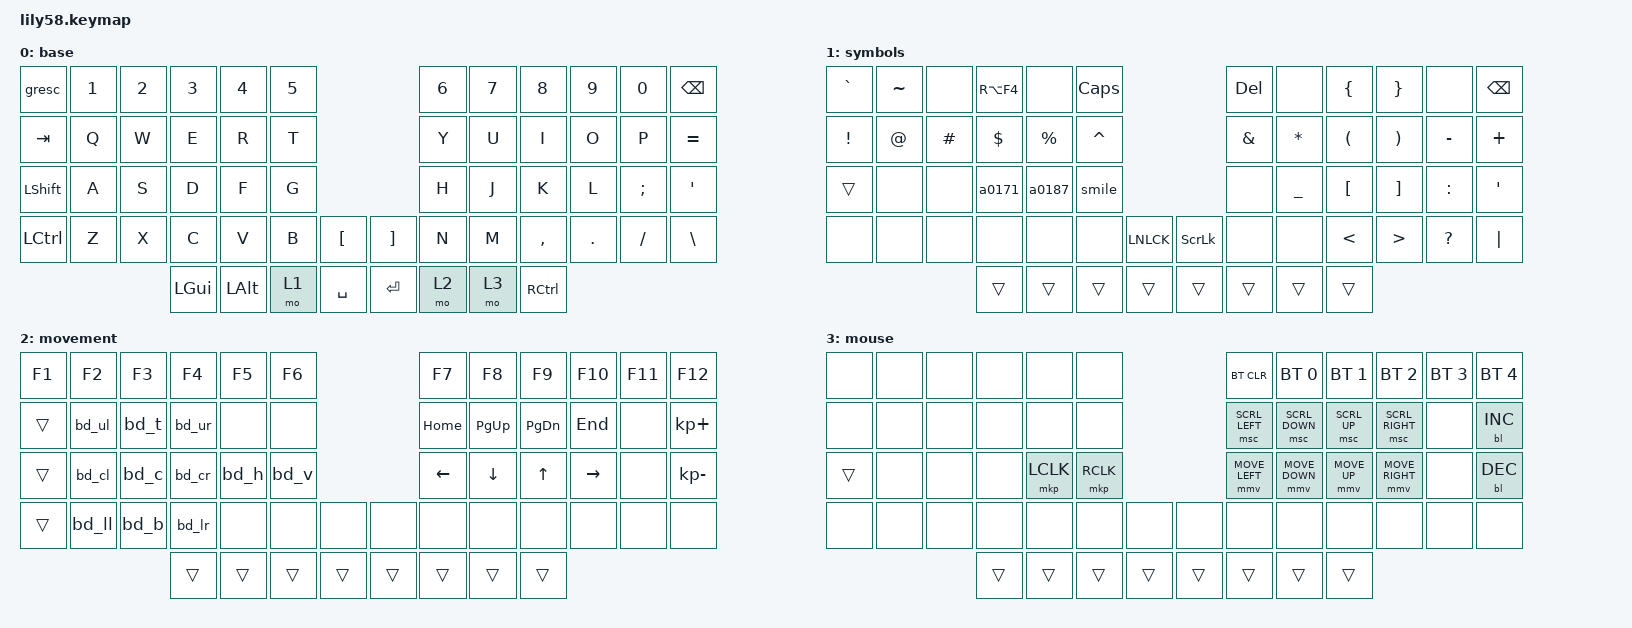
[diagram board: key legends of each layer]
/*
 * Copyright (c) 2020 The ZMK Contributors
 *
 * SPDX-License-Identifier: MIT
 */

#define ZMK_POINTING_DEFAULT_MOVE_VAL 1500
#define ZMK_POINTING_DEFAULT_SCRL_VAL 20

#include <behaviors.dtsi>
#include <dt-bindings/zmk/bt.h>
#include <dt-bindings/zmk/keys.h>
#include <dt-bindings/zmk/pointing.h>
#include <dt-bindings/zmk/backlight.h>

&gresc {
    mods = <(MOD_LGUI|MOD_RGUI)>;
    bindings = <&kp ESC>, <&kp GRAVE>;
    keep-mods = <(MOD_LGUI|MOD_RGUI)>;
};

/ {
    macros {
        smile: alt_code_for_a_simple_smile {
            compatible = "zmk,behavior-macro";
            tap-ms = <10>;
            wait-ms = <10>;
            #binding-cells = <0>;
            bindings = <&macro_press &kp LALT>
                     , <&macro_tap &kp KP_N2>
                     , <&macro_release &kp LALT>
                     ;

        };

        a0171: alt_code_open_angle_quote {
            compatible = "zmk,behavior-macro";
            tap-ms = <10>;
            wait-ms = <10>;
            #binding-cells = <0>;
            bindings = <&macro_press &kp LALT>
                     , <&macro_tap &kp KP_N0 &kp KP_N1 &kp KP_N7 &kp KP_N1>
                     , <&macro_release &kp LALT>
                     ;

        };
        a0187: alt_code_close_angle_quote {
            compatible = "zmk,behavior-macro";
            tap-ms = <10>;
            wait-ms = <10>;
            #binding-cells = <0>;
            bindings = <&macro_press &kp LALT>
                     , <&macro_tap &kp KP_N0 &kp KP_N1 &kp KP_N8 &kp KP_N7>
                     , <&macro_release>, <&kp LALT>
                     ;
        };

        bd_h: box_drawing_horizontal {
            compatible = "zmk,behavior-macro";
            tap-ms = <10>;
            wait-ms = <10>;
            #binding-cells = <0>;
            bindings = <&macro_press &kp LALT>
                     , <&macro_tap &kp KP_N1 &kp KP_N9 &kp KP_N6>
                     , <&macro_release &kp LALT>
                     ;
        };

        bd_v: box_drawing_vertical {
            compatible = "zmk,behavior-macro";
            tap-ms = <10>;
            wait-ms = <10>;
            #binding-cells = <0>;
            bindings = <&macro_press &kp LALT>
                     , <&macro_tap &kp KP_N1 &kp KP_N7 &kp KP_N9>
                     , <&macro_release &kp LALT>
                     ;
        };

        bd_ul: box_drawing_upper_left_corner {
            compatible = "zmk,behavior-macro";
            tap-ms = <10>;
            wait-ms = <10>;
            #binding-cells = <0>;
            bindings = <&macro_press &kp LALT>
                     , <&macro_tap &kp KP_N2 &kp KP_N1 &kp KP_N8>
                     , <&macro_release &kp LALT>
                     ;
        };

        bd_ur: box_drawing_upper_right_corner {
            compatible = "zmk,behavior-macro";
            tap-ms = <10>;
            wait-ms = <10>;
            #binding-cells = <0>;
            bindings = <&macro_press &kp LALT>
                     , <&macro_tap &kp KP_N1 &kp KP_N9 &kp KP_N1>
                     , <&macro_release &kp LALT>
                     ;
        };

        bd_ll: box_drawing_lower_left_corner {
            compatible = "zmk,behavior-macro";
            tap-ms = <10>;
            wait-ms = <10>;
            #binding-cells = <0>;
            bindings = <&macro_press &kp LALT>
                     , <&macro_tap &kp KP_N1 &kp KP_N9 &kp KP_N2>
                     , <&macro_release &kp LALT>
                     ;
        };

        bd_lr: box_drawing_lower_right_corner {
            compatible = "zmk,behavior-macro";
            tap-ms = <10>;
            wait-ms = <10>;
            #binding-cells = <0>;
            bindings = <&macro_press &kp LALT>
                     , <&macro_tap &kp KP_N2 &kp KP_N1 &kp KP_N7>
                     , <&macro_release &kp LALT>
                     ;
        };

        bd_cl: box_drawing_center_left_junction {
            compatible = "zmk,behavior-macro";
            tap-ms = <10>;
            wait-ms = <10>;
            #binding-cells = <0>;
            bindings = <&macro_press &kp LALT>
                     , <&macro_tap &kp KP_N1 &kp KP_N9 &kp KP_N5>
                     , <&macro_release &kp LALT>
                     ;
        };

        bd_cr: box_drawing_center_right_junction {
            compatible = "zmk,behavior-macro";
            tap-ms = <10>;
            wait-ms = <10>;
            #binding-cells = <0>;
            bindings = <&macro_press &kp LALT>
                     , <&macro_tap &kp KP_N1 &kp KP_N8 &kp KP_N0>
                     , <&macro_release &kp LALT>
                     ;
        };

        bd_t: box_drawing_top_junction {
            compatible = "zmk,behavior-macro";
            tap-ms = <10>;
            wait-ms = <10>;
            #binding-cells = <0>;
            bindings = <&macro_press &kp LALT>
                     , <&macro_tap &kp KP_N1 &kp KP_N9 &kp KP_N4>
                     , <&macro_release &kp LALT>
                     ;
        };

        bd_b: box_drawing_bottom_junction {
            compatible = "zmk,behavior-macro";
            tap-ms = <10>;
            wait-ms = <10>;
            #binding-cells = <0>;
            bindings = <&macro_press &kp LALT>
                     , <&macro_tap &kp KP_N1 &kp KP_N9 &kp KP_N3>
                     , <&macro_release &kp LALT>
                     ;
        };

        bd_c: box_drawing_center_junction {
            compatible = "zmk,behavior-macro";
            tap-ms = <10>;
            wait-ms = <10>;
            #binding-cells = <0>;
            bindings = <&macro_press &kp LALT>
                     , <&macro_tap &kp KP_N1 &kp KP_N9 &kp KP_N7>
                     , <&macro_release &kp LALT>
                     ;
        };
    };

    keymap {
        compatible = "zmk,keymap";



        /// ┌─────┬─────┬─────┬─────┬─────┬─────┐               ┌─────┬─────┬─────┬─────┬─────┬─────┐
        /// │ ES` │ 1 ! │ 2 @ │ 3 # │ 4 $ │ 5 % │               │ 6 ^ │ 7 & │ 8 { │ 9 } │ 0 ) │ <<< │
        /// ├─────┼─────┼─────┼─────┼─────┼─────┤               ├─────┼─────┼─────┼─────┼─────┼─────┤
        /// │ TAB │ q Q │ w W │ e E │ r R │ t T │               │ y Y │ u U │ i I │ o O │ p P │ = + │
        /// ├─────┼─────┼─────┼─────┼─────┼─────┼─────┐   ┌─────┼─────┼─────┼─────┼─────┼─────┼─────┤
        /// │ SHF │ a A │ s S │ d D │ f F │ g G │ [ { │   │ ] } │ h H │ j J │ k K │ l L │ ; : │ ' " │
        /// ├─────┼─────┼─────┼─────┼─────┼─────┼─────┤   ├─────┼─────┼─────┼─────┼─────┼─────┼─────┤
        /// │ CTL │ z Z │ x X │ c C │ v V │ b B │     │   │     │ n N │ m M │ , < │ . > │ / ? │ \ | │
        /// └─────┴─────┴─────┼─────┼─────┼─────┤ SPC │   │ ENT ├─────┼─────┼─────┼─────┴─────┴─────┘
        ///                   │ GUI │ ALT │ L_1 │     │   │     │ L_2 │ L_3 │ CTL │
        ///                   └─────┴─────┴─────┴─────┘   └─────┴─────┴─────┴─────┘
        base {
            bindings = <
                &gresc     &kp N1  &kp N2  &kp N3    &kp N4    &kp N5                         &kp N6  &kp N7  &kp N8     &kp N9   &kp N0    &kp BSPC
                &kp TAB    &kp Q   &kp W   &kp E     &kp R     &kp T                          &kp Y   &kp U   &kp I      &kp O    &kp P     &kp EQUAL
                &kp LSHFT  &kp A   &kp S   &kp D     &kp F     &kp G                          &kp H   &kp J   &kp K      &kp L    &kp SEMI  &kp SQT
                &kp LCTRL  &kp Z   &kp X   &kp C     &kp V     &kp B   &kp LBKT     &kp RBKT  &kp N   &kp M   &kp COMMA  &kp DOT  &kp FSLH  &kp BSLH
                                           &kp LGUI  &kp LALT  &mo 1   &kp SPACE    &kp RET   &mo 2   &mo 3   &kp RCTRL
            >;
        };



        /// AF4 = Alt + F4
        /// ┌─────┬─────┬─────┬─────┬─────┬─────┐               ┌─────┬─────┬─────┬─────┬─────┬─────┐
        /// │ ` ~ │  ~  │     │ AF4 │     │ CAP │               │ DEL │     │  {  │  }  │     │ <<< │
        /// ├─────┼─────┼─────┼─────┼─────┼─────┤               ├─────┼─────┼─────┼─────┼─────┼─────┤
        /// │  ▼  │  @  │  #  │  $  │  %  │  ^  │               │  &  │  *  │  (  │  )  │ - _ │  +  │
        /// ├─────┼─────┼─────┼─────┼─────┼─────┼─────┐   ┌─────┼─────┼─────┼─────┼─────┼─────┼─────┤
        /// │  ▼  │     │     │  «  │  »  │  ☻  │ NML │   │ SCL │     │  _  │ [ { │ ] } │  :  │ ' " │
        /// ├─────┼─────┼─────┼─────┼─────┼─────┼─────┤   ├─────┼─────┼─────┼─────┼─────┼─────┼─────┤
        /// │  ▼  │     │     │     │     │     │     │   │     │     │     │  <  │  >  │  ?  │  |  │
        /// └─────┴─────┴─────┼─────┼─────┼─────┤  ▼  │   │  ▼  ├─────┼─────┼─────┼─────┴─────┴─────┘
        ///                   │  ▼  │  ▼  │  ▼  │     │   │     │  ▼  │  ▼  │  ▼  │
        ///                   └─────┴─────┴─────┴─────┘   └─────┴─────┴─────┴─────┘
        symbols {
            bindings = <
                &kp GRAVE  &kp TILDE  &none     &kp RA(F4)  &none      &kp CAPS                          &kp DEL   &none      &kp LBRC  &kp RBRC  &none      &kp BSPC
                &kp EXCL   &kp AT     &kp HASH  &kp DOLLAR  &kp PRCNT  &kp CARET                         &kp AMPS  &kp STAR   &kp LPAR  &kp RPAR  &kp MINUS  &kp PLUS
                &trans     &none      &none     &a0171      &a0187     &smile                            &none     &kp UNDER  &kp LBKT  &kp RBKT  &kp COLON  &kp SQT
                &none      &none      &none     &none       &none      &none      &kp LNLCK    &kp SLCK  &none     &none      &kp LT    &kp GT    &kp QMARK  &kp PIPE
                                                &trans      &trans     &trans     &trans       &trans    &trans    &trans     &trans
            >;
        };



        /// ┌─────┬─────┬─────┬─────┬─────┬─────┐               ┌─────┬─────┬─────┬─────┬─────┬─────┐
        /// │ F-1 │ F-2 │ F-3 │ F-4 │ F-5 │ F-6 │               │ F-7 │ F-8 │ F-9 │ F10 │ F11 │ F12 │
        /// ├─────┼─────┼─────┼─────┼─────┼─────┤               ├─────┼─────┼─────┼─────┼─────┼─────┤
        /// │  ▼  │  ┌  │  ┬  │  ┐  │     │     │               │ HOM │ PUP │ PDN │ END │     │  +  │
        /// ├─────┼─────┼─────┼─────┼─────┼─────┼─────┐   ┌─────┼─────┼─────┼─────┼─────┼─────┼─────┤
        /// │  ▼  │  ├  │  ┼  │  ┤  │  ─  │  │  │     │   │     │ LFT │ DWN │  UP │ RGH │     │  -  │
        /// ├─────┼─────┼─────┼─────┼─────┼─────┼─────┤   ├─────┼─────┼─────┼─────┼─────┼─────┼─────┤
        /// │  ▼  │  └  │  ┴  │  ┘  │     │     │     │   │     │     │     │     │     │     │     │
        /// └─────┴─────┴─────┼─────┼─────┼─────┤  ▼  │   │  ▼  ├─────┼─────┼─────┼─────┴─────┴─────┘
        ///                   │  ▼  │  ▼  │  ▼  │     │   │     │  ▼  │  ▼  │  ▼  │
        ///                   └─────┴─────┴─────┴─────┘   └─────┴─────┴─────┴─────┘
        movement {
            bindings = <
                &kp F1  &kp F2  &kp F3  &kp F4  &kp F5  &kp F6                    &kp F7    &kp F8     &kp F9     &kp F10    &kp F11  &kp F12
                &trans  &bd_ul  &bd_t   &bd_ur  &none   &none                     &kp HOME  &kp PG_UP  &kp PG_DN  &kp END    &none    &kp KP_PLUS
                &trans  &bd_cl  &bd_c   &bd_cr  &bd_h   &bd_v                     &kp LEFT  &kp DOWN   &kp UP     &kp RIGHT  &none    &kp KP_MINUS
                &trans  &bd_ll  &bd_b   &bd_lr  &none   &none   &none     &none   &none     &none      &none      &none      &none    &none
                                        &trans  &trans  &trans  &trans    &trans  &trans    &trans     &trans
            >;
        };



        /// ┌─────┬─────┬─────┬─────┬─────┬─────┐               ┌─────┬─────┬─────┬─────┬─────┬─────┐
        /// │     │     │     │     │     │     │               │ CLR │ B-0 │ B-1 │ B-2 │ B-3 │ B-4 │
        /// ├─────┼─────┼─────┼─────┼─────┼─────┤               ├─────┼─────┼─────┼─────┼─────┼─────┤
        /// │  ▼  │     │     │     │     │     │               │ W_L │ W_D │ W_U │ W_R │     │ BL+ │
        /// ├─────┼─────┼─────┼─────┼─────┼─────┼─────┐   ┌─────┼─────┼─────┼─────┼─────┼─────┼─────┤
        /// │  ▼  │     │     │     │ LMB │ RMB │     │   │     │ M_U │ M_D │ M_U │ M_R │     │ BL- │
        /// ├─────┼─────┼─────┼─────┼─────┼─────┼─────┤   ├─────┼─────┼─────┼─────┼─────┼─────┼─────┤
        /// │  ▼  │     │     │     │     │     │     │   │     │     │     │     │     │     │     │
        /// └─────┴─────┴─────┼─────┼─────┼─────┤  ▼  │   │  ▼  ├─────┼─────┼─────┼─────┴─────┴─────┘
        ///                   │  ▼  │  ▼  │  ▼  │     │   │     │  ▼  │  ▼  │  ▼  │
        ///                   └─────┴─────┴─────┴─────┘   └─────┴─────┴─────┴─────┘
        mouse {
            bindings = <
                &none   &none  &none  &none   &none      &none                        &bt BT_CLR      &bt BT_SEL 0    &bt BT_SEL 1  &bt BT_SEL 2     &bt BT_SEL 3  &bt BT_SEL 4
                &none   &none  &none  &none   &none      &none                        &msc SCRL_LEFT  &msc SCRL_DOWN  &msc SCRL_UP  &msc SCRL_RIGHT  &none         &bl BL_INC
                &trans  &none  &none  &none   &mkp LCLK  &mkp RCLK                    &mmv MOVE_LEFT  &mmv MOVE_DOWN  &mmv MOVE_UP  &mmv MOVE_RIGHT  &none         &bl BL_DEC
                &none   &none  &none  &none   &none      &none      &none     &none   &none           &none           &none         &none            &none         &none
                                      &trans  &trans     &trans     &trans    &trans  &trans          &trans          &trans
            >;
        };
    };
};
